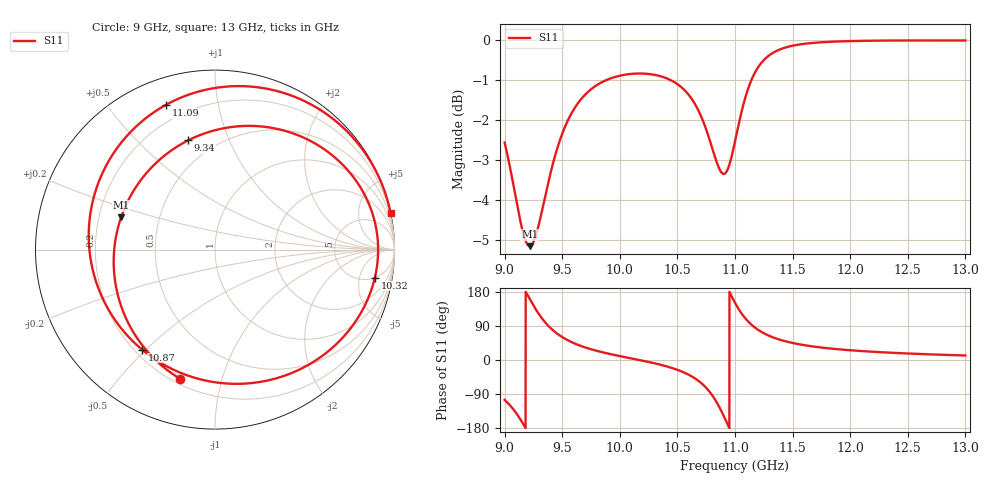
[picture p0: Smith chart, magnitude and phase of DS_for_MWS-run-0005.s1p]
! TOUCHSTONE file generated by CST DESIGN STUDIO
! Date and time: Wed Feb  5 13:36:12 2025
! Project name: C:\Work\MatlabApps\UnitCellOptimizationMatlab\CST\unitcell.cst
! Tree item: Tasks\Sweep1\SPara1\S-Parameters
! Header version: 2024
! Port assignment regex: !\s*Touchstone port\s*([0-9]+)\s*=\s*(CST MWS port|CST DES external port|CST DES block port)\s*(.+)\s* \(\"(.*)\"\)(\s*mode\s*([0-9]+))?.*
! Touchstone port assignment:
! Touchstone port 1 = CST DES external port 1 ("")
# GHz S MA R 50
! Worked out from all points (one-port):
!   4001 points, 9 GHz to 13 GHz, reference 50 ohm
!   lowest |S11| = -5.1 dB at 9.218 GHz (marker M1), VSWR 3.48, Z = 14.7 + j7.64 ohm
!   |S11| at or under -10 dB: nowhere
!   S11 on the Smith chart (normalised r, x): 9 GHz: 0.23, -0.74; 9.34 GHz: 0.36, +0.72; 10.32 GHz: 5.04, -8.62; 10.87 GHz: 0.23, -0.49; 11.09 GHz: 0.12, +0.71; 13 GHz: 0.03, +9.58
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9  0.7452 -105.3
9.06  0.6788 -124.3
9.127  0.6039 -151.9
9.218  0.5532 161.0
9.281  0.5767 128.8
9.34  0.6268 103.8
9.412  0.6949 80.6
9.5  0.7644 60.5
9.597  0.8182 45.0
9.707  0.8576 32.4
10  0.9031 10.3
10.318  0.9044 -9.9
10.5  0.8816 -26.0
10.608  0.8512 -40.5
10.696  0.8095 -58.1
10.794  0.7399 -89.6
10.867  0.6896 -126.1
10.937  0.6903 -170.4
11  0.7474 150.8
11.046  0.8017 127.6
11.093  0.8515 108.7
11.166  0.9072 87.3
11.27  0.9507 67.6
11.373  0.9717 55.1
11.5  0.9845 44.9
12  0.9977 25.7
12.5  0.9995 17.2
13  0.9994 11.9
